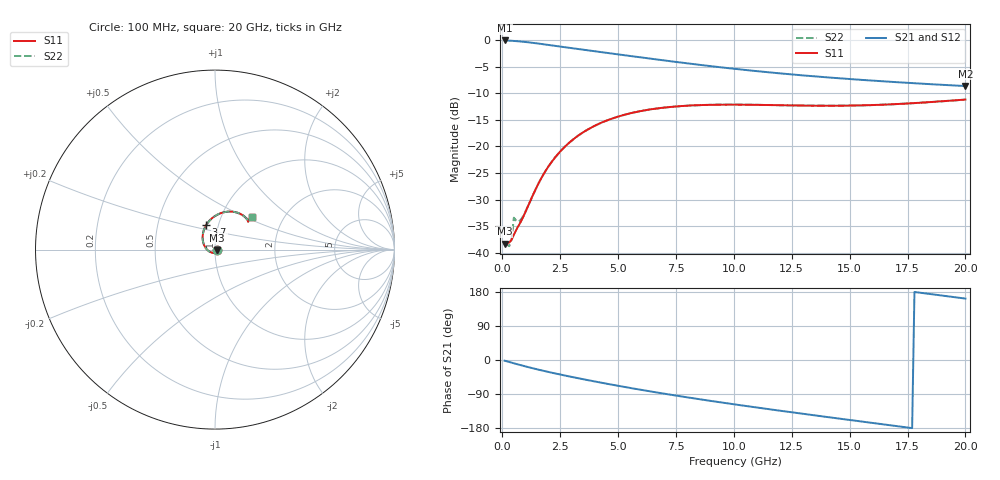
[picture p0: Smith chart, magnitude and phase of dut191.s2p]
! Touchstone file exported from HFSS 2023.1.0
!  File:  D:/Users/fzz/RDL_TSV/temp_RDL_TSV_191_1778755675.aedt
!  Generated:  6:57:17 %x4E0B%x5348  5%x6708 14, 2026
!  Design:  RDL_TSV
!  Project:  temp_RDL_TSV_191_1778755675
!  Setup:  Setup1
!  Solution:  Sweep
! Variables:
!  dtsv = 13.82um
!  hbump = 3um
!  htsv = 66.15um
!  ldown = 296.2um
!  lrdl = 487.51um
!  p = 40
!  p1 = 45.16um
!  rhole = 10um
!  subl = 2838.64um
!  t = 450um
!  tdown = 3.59um
!  trdl = 4um
!  viad = 10um
!  wdown = 22.02um
!  wrdl = 22.57um
!  xbump = 18um
# GHz S MA R 50.000000
! Terminal data exported
! Port[1] = TM1_1_T1
! Port[2] = TM1_4_T1
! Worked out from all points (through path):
!   200 points, 100 MHz to 20 GHz, reference 50 ohm
!   highest |S21| = -0.11 dB at 100 MHz (marker M1); lowest = -8.7 dB at 20 GHz (marker M2)
!   group delay of S21, straight-line fit = 26 ps
!   lowest |S11| = -38.2 dB at 100 MHz (marker M3), VSWR 1.02, Z = 51.2 - j0.227 ohm
!   |S11| at or under -10 dB: start of sweep to end of sweep
!   |S22| runs from -38.7 to -11.2 dB; largest |S21 - S12| = 1.3e-14
!   S11 on the Smith chart (normalised r, x): 100 MHz: 1.02, -0.00; 3.7 GHz: 0.87, +0.24; 20 GHz: 1.39, +0.55
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0.1  0.01227 -10.4  0.9872 -1.8  0.9872 -1.8  0.01227 -10.4
! Gamma 0 0 0 0
! Port Impedance 50 0 50 0
0.3  0.01253 -31.2  0.9831 -5.3  0.9831 -5.3  0.01159 -26.7
0.4  0.01331 -42.5  0.9803 -7.0  0.9803 -7.0  0.01338 -24.6
0.5  0.01477 -56.8  0.9771 -8.7  0.9771 -8.7  0.02143 -50.8
0.7  0.01798 -92.1  0.9695 -12.1  0.9695 -12.1  0.01965 -97.6
0.8  0.01965 -108.4  0.9651 -13.7  0.9651 -13.7  0.02048 -112.0
1  0.02421 -134.8  0.9552 -16.9  0.9552 -16.9  0.02449 -136.3
1.6  0.04655 177.3  0.9205 -26.0  0.9205 -26.0  0.04654 177.2
2.1  0.07003 154.0  0.8896 -33.0  0.8896 -33.0  0.06996 154.0
2.7  0.09932 134.0  0.8535 -40.9  0.8535 -40.9  0.09922 134.0
3.5  0.1361 114.3  0.8081 -50.8  0.8081 -50.8  0.136 114.3
3.7  0.1445 110.1  0.7973 -53.2  0.7973 -53.2  0.1444 110.2
4.4  0.1713 97.5  0.7607 -61.4  0.7607 -61.4  0.1711 97.5
5.1  0.1934 87.0  0.7259 -69.2  0.7259 -69.2  0.1932 87.0
6.8  0.2289 67.8  0.649 -87.0  0.649 -87.0  0.2288 67.8
8.4  0.2436 55.5  0.5871 -102.4  0.5871 -102.4  0.2436 55.5
10.1  0.2467 46.9  0.5328 -117.7  0.5328 -117.7  0.2468 46.9
11.7  0.2442 42.2  0.4914 -131.4  0.4914 -131.4  0.2444 42.2
13.4  0.2411 40.1  0.456 -145.4  0.456 -145.4  0.2413 40.0
15  0.2415 40.0  0.4289 -158.3  0.4289 -158.3  0.2417 39.8
16.7  0.2477 40.9  0.405 -171.8  0.405 -171.8  0.2477 40.7
20  0.2754 41.8  0.3684 162.1  0.3684 162.1  0.2748 41.5
